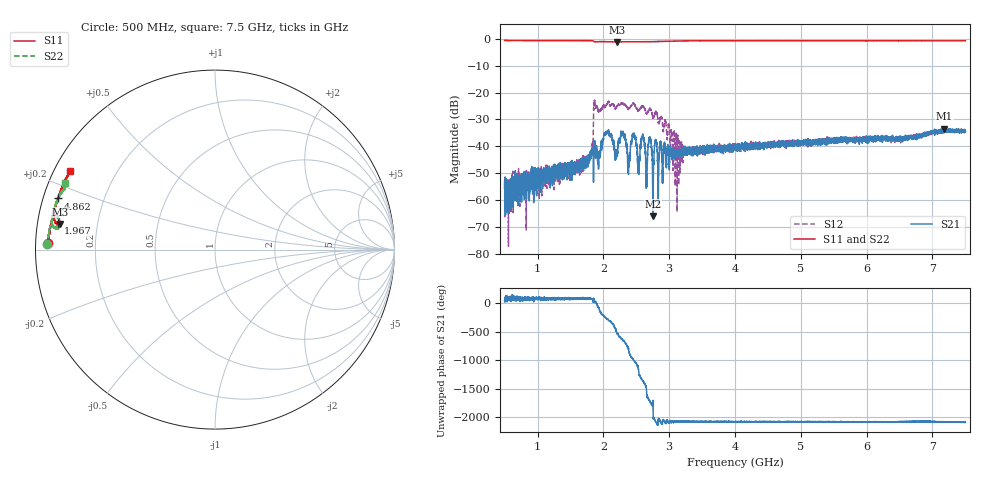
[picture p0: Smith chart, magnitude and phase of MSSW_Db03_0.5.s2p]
!Keysight Technologies,M9374A,MY55442783,A.12.55.05
!Date: Wednesday, May 19, 2021 15:31:34
!Correction: S11(Full 2 Port(1,2))
!S21(Full 2 Port(1,2))
!S12(Full 2 Port(1,2))
!S22(Full 2 Port(1,2))
!S2P File: Measurements: S11, S21, S12, S22:
# Hz S  RI  R 50
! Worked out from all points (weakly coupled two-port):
!   7001 points, 500 MHz to 7.5 GHz, reference 50 ohm
!   highest |S21| = -33.44 dB at 7.179 GHz (marker M1); lowest = -66.1 dB at 2.756 GHz (marker M2)
!   lowest |S11| = -1.1 dB at 2.203 GHz (marker M3), VSWR 15.18, Z = 3.32 + j4.08 ohm
!   |S11| at or under -10 dB: nowhere
!   |S22| runs from -1.1 to -0.6 dB; largest |S21 - S12| = 0.062
!   S11 on the Smith chart (normalised r, x): 500 MHz: 0.04, +0.02; 1.967 GHz: 0.06, +0.08; 4.862 GHz: 0.04, +0.16; 7.5 GHz: 0.04, +0.25
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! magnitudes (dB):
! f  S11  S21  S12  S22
! 500 MHz  -0.6  -53.3  -53.7  -0.6
! 1.667 GHz  -0.7  -45.5  -49.6  -0.6
! 1.809 GHz  -0.7  -43.0  -42.7  -0.6
! 1.884 GHz  -1.1  -42.9  -25.4  -1.0
! 1.967 GHz  -1.0  -38.0  -26.1  -1.0
! 2.063 GHz  -1.1  -34.7  -24.0  -1.1
! 2.203 GHz  -1.1  -41.9  -25.1  -1.1
! 2.297 GHz  -1.1  -35.0  -24.0  -1.1
! 2.377 GHz  -1.1  -49.2  -26.1  -1.1
! 2.461 GHz  -1.1  -36.2  -24.2  -1.1
! 2.53 GHz  -1.1  -48.2  -26.8  -1.1
! 2.596 GHz  -1.1  -36.1  -25.2  -1.1
! 2.643 GHz  -1.1  -46.1  -27.0  -1.1
! 2.756 GHz  -1.0  -66.1  -29.4  -1.0
! 2.834 GHz  -1.0  -57.3  -30.8  -1.0
! 3.15 GHz  -0.8  -41.7  -39.7  -0.8
! 4 GHz  -0.7  -40.2  -40.4  -0.7
! 4.862 GHz  -0.7  -38.8  -38.4  -0.7
! 5.167 GHz  -0.7  -38.6  -38.5  -0.7
! 6.334 GHz  -0.7  -37.2  -37.1  -0.8
! 7.179 GHz  -0.7  -33.4  -33.9  -0.8
! 7.5 GHz  -0.7  -34.6  -34.4  -0.8
